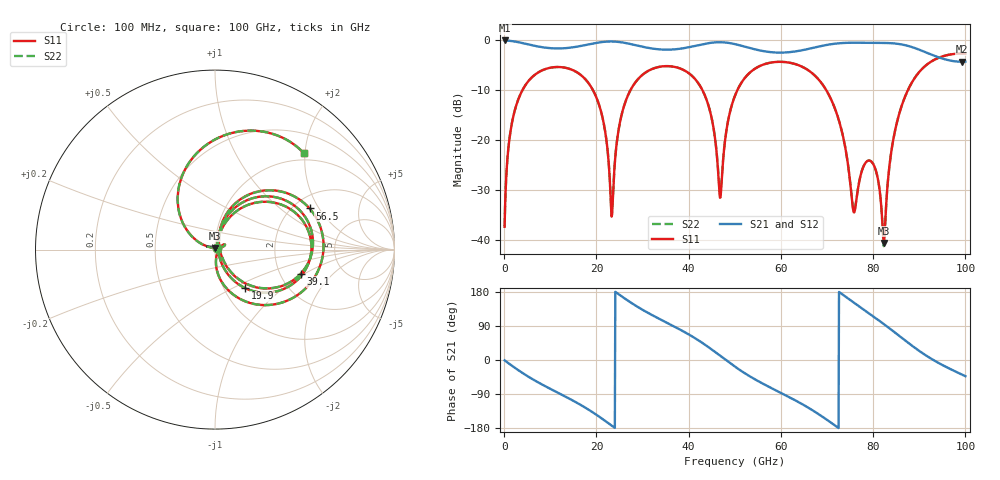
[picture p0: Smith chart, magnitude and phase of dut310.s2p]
! Touchstone file exported from HFSS 2026.1.0
!  File:  C:/ffzhzh/LocalFiles/Ansys_Project_Files/temp_train_TSV_RDL_310_1783698320_44652.aedt
!  Generated:  11:51:58 PM Jul 10, 2026
!  Design:  TSV_RDL
!  Project:  temp_train_TSV_RDL_310_1783698320_44652
! Variables:
!  h_bsmrdl = 4.33um
!  h_ox = 20um
!  h_rdl = 5um
!  h_sub = 75.84um
!  h_tmrdl = 4.38um
!  h_tsv = 75.84um
!  h_via = 3um
!  l_bsmrdl = 397.05um
!  l_sub = 2379.56um
!  l_tmrdl = 170.83um
!  m_sub = 200um
!  pitch = 59.46um
!  r_tsv = 14.15um
!  s_tmrdl = 10um
!  w_bsmrdl = 19.91um
!  w_sub = 500um
!  w_tmrdl = 15.12um
!  x_tsv_center1 = 178.39um
!  x_tsv_center2 = 595.35um
!  x_tsv_center3 = 781.3um
!  x_tsv_center4 = 1198.26um
!  x_tsv_center5 = 1384.21um
!  x_tsv_center6 = 1801.17um
# GHz S MA R 50.000000
! Terminal data exported
! Port[1] = TM_RDL1_1_T1
! Port[2] = TM_RDL5_1_T1
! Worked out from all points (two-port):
!   1000 points, 100 MHz to 100 GHz, reference 50 ohm
!   highest |S21| = -0.08 dB at 100 MHz (marker M1); lowest = -4.3 dB at 99.2 GHz (marker M2)
!   |S21| within 3 dB of the highest: start of sweep to 93.1 GHz
!   lowest |S11| = -40.6 dB at 82.3 GHz (marker M3), VSWR 1.02, Z = 50.1 + j0.929 ohm
!   |S11| at or under -10 dB: 19.24 GHz to 27.4 GHz (8.156 GHz wide, 35 % of centre); 42.98 GHz to 50.57 GHz (7.596 GHz wide, 16.2 % of centre); 69.82 GHz to 87.54 GHz (17.73 GHz wide, 22.5 % of centre) (the widest 3 of 4)
!   |S22| runs from -41.2 to -2.7 dB; largest |S21 - S12| = 8.5e-14
!   S11 on the Smith chart (normalised r, x): 100 MHz: 1.02, +0.02; 19.9 GHz: 1.25, -0.58; 39.1 GHz: 2.59, -0.93; 56.5 GHz: 2.43, +1.66; 100 GHz: 0.86, +1.97
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0.1  0.01357 43.7  0.9903 -0.9  0.9903 -0.9  0.01357 43.7
! Gamma 0 0 0 0
! Port Impedance 50 0 50 0
1.5  0.1327 71.0  0.9784 -13.5  0.9784 -13.5  0.1327 71.0
4.3  0.336 50.4  0.925 -36.8  0.925 -36.8  0.336 50.4
16.8  0.4403 -30.1  0.8757 -120.0  0.8757 -120.0  0.4404 -30.0
19.9  0.2732 -51.9  0.935 -143.7  0.935 -143.7  0.2732 -51.8
23.3  0.01717 -2.7  0.9669 -173.0  0.9669 -173.0  0.01778 -2.4
26.4  0.249 65.5  0.9324 160.1  0.9324 160.1  0.249 65.4
33.4  0.5367 18.8  0.8086 110.1  0.8086 110.1  0.5367 18.8
39.1  0.4962 -15.7  0.8315 73.9  0.8315 73.9  0.4963 -15.6
44.2  0.2288 -50.2  0.9289 34.8  0.9289 34.8  0.229 -49.7
46.8  0.02647 2.5  0.9509 11.5  0.9509 11.5  0.02834 3.0
50.1  0.2817 66.3  0.9087 -18.1  0.9087 -18.1  0.2818 66.0
56.5  0.5748 23.5  0.7706 -65.1  0.7706 -65.1  0.5748 23.4
66.7  0.4695 -39.4  0.8296 -131.5  0.8296 -131.5  0.4695 -39.4
74.1  0.07727 -86.2  0.9368 166.3  0.9368 166.3  0.07738 -85.9
75.9  0.01891 -19.9  0.9395 150.6  0.9395 150.6  0.01942 -20.0
80.1  0.05668 22.7  0.9367 114.3  0.9367 114.3  0.0567 22.0
82.3  0.009363 81.7  0.9354 94.9  0.9354 94.9  0.008697 80.8
83.4  0.04859 157.5  0.9323 84.9  0.9323 84.9  0.0484 158.3
88.6  0.3899 121.5  0.845 36.2  0.845 36.2  0.3898 121.7
99.2  0.7327 51.6  0.6068 -38.2  0.6068 -38.2  0.7328 51.7
100  0.7305 47.4  0.609 -42.8  0.609 -42.8  0.7305 47.5
